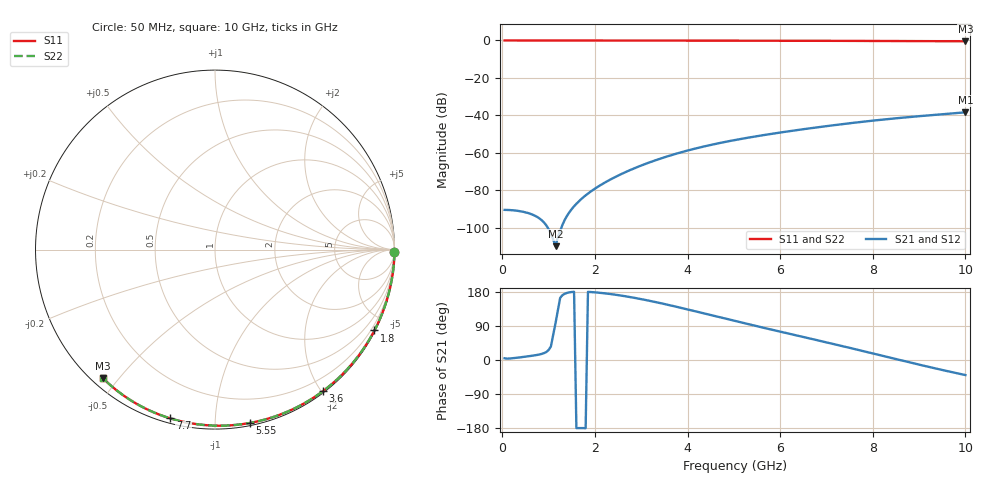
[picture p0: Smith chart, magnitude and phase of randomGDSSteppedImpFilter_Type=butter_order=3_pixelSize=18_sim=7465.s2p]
! freq	dB(S11)	phase(S11)	dB(S12)	phase(S12)
!  dB(S21)	phase(S21)	dB(S22)	phase(S22)
!S-par simulation data
#  GHz  S  DB  R 50
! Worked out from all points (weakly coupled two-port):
!   200 points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, 50 MHz to 10 GHz, reference 50 ohm
!   highest |S21| = -38.37 dB at 10 GHz (marker M1); lowest = -109.9 dB at 1.15 GHz (marker M2)
!   lowest |S11| = -0.4 dB at 10 GHz (marker M3), VSWR 39.18, Z = 1.54 - j22.7 ohm
!   |S11| at or under -10 dB: nowhere
!   |S22| runs from -0.4 to 0.0 dB; largest |S21 - S12| = 0
!   S11 on the Smith chart (normalised r, x): 50 MHz: open; 1.8 GHz: 0.04, -4.18; 3.6 GHz: 0.02, -2.02; 5.55 GHz: 0.02, -1.22; 7.7 GHz: 0.02, -0.77; 10 GHz: 0.03, -0.45
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0.05  -0.00 -0.8  -90.47 4.6  -90.47 4.6  -0.00 -0.8
0.6  -0.01 -9.1  -92.51 10.4  -92.51 10.4  -0.01 -9.1
1.15  -0.02 -17.3  -109.85 97.6  -109.85 97.6  -0.02 -17.3
1.75  -0.03 -26.2  -83.74 -179.7  -83.74 -179.7  -0.03 -26.2
1.8  -0.03 -26.9  -82.72 -179.9  -82.72 -179.9  -0.03 -26.9
1.95  -0.04 -29.1  -79.97 179.0  -79.97 179.0  -0.04 -29.1
2.25  -0.04 -33.4  -75.39 175.4  -75.39 175.4  -0.04 -33.4
2.55  -0.05 -37.8  -71.57 170.3  -71.57 170.3  -0.05 -37.8
2.95  -0.06 -43.5  -67.27 161.8  -67.27 161.8  -0.06 -43.5
3.4  -0.07 -49.8  -63.21 150.5  -63.21 150.5  -0.07 -49.8
3.6  -0.07 -52.6  -61.62 145.0  -61.62 145.0  -0.07 -52.6
3.9  -0.08 -56.7  -59.46 136.4  -59.46 136.4  -0.08 -56.7
4.3  -0.09 -62.1  -56.93 124.6  -56.93 124.6  -0.09 -62.1
4.65  -0.10 -66.8  -55.00 114.1  -55.00 114.1  -0.10 -66.8
5.05  -0.11 -72.1  -53.05 102.2  -53.05 102.2  -0.11 -72.1
5.55  -0.13 -78.5  -50.91 87.7  -50.91 87.7  -0.13 -78.5
6.1  -0.15 -85.5  -48.81 72.0  -48.81 72.0  -0.15 -85.5
6.7  -0.18 -92.9  -46.73 55.1  -46.73 55.1  -0.18 -92.9
7.7  -0.24 -104.9  -43.65 26.2  -43.65 26.2  -0.24 -104.9
8.35  -0.29 -112.4  -41.93 7.0  -41.93 7.0  -0.29 -112.4
9.15  -0.36 -121.6  -40.13 -16.5  -40.13 -16.5  -0.36 -121.6
10  -0.44 -131.2  -38.37 -39.7  -38.37 -39.7  -0.44 -131.2
